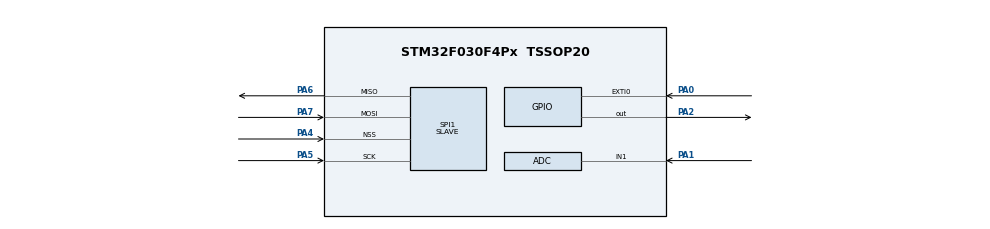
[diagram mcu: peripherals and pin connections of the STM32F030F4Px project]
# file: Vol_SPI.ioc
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ADC.DMAContinuousRequests=ENABLE
ADC.ExternalTrigConv=ADC_EXTERNALTRIGCONV_T1_TRGO
ADC.SamplingTime=ADC_SAMPLETIME_13CYCLES_5
Dma.ADC.0.Direction=DMA_PERIPH_TO_MEMORY
Dma.ADC.0.Instance=DMA1_Channel1
Dma.ADC.0.MemDataAlignment=DMA_MDATAALIGN_HALFWORD
Dma.ADC.0.MemInc=DMA_MINC_ENABLE
Dma.ADC.0.Mode=DMA_CIRCULAR
Dma.ADC.0.PeriphDataAlignment=DMA_PDATAALIGN_HALFWORD
Dma.ADC.0.PeriphInc=DMA_PINC_DISABLE
Dma.ADC.0.Priority=DMA_PRIORITY_LOW
Dma.Request0=ADC
Dma.Request1=SPI1_RX
Dma.Request2=SPI1_TX
Dma.SPI1_RX.1.Direction=DMA_PERIPH_TO_MEMORY
Dma.SPI1_RX.1.Instance=DMA1_Channel2
Dma.SPI1_RX.1.MemDataAlignment=DMA_MDATAALIGN_BYTE
Dma.SPI1_RX.1.MemInc=DMA_MINC_ENABLE
Dma.SPI1_RX.1.Mode=DMA_NORMAL
Dma.SPI1_RX.1.PeriphDataAlignment=DMA_PDATAALIGN_BYTE
Dma.SPI1_RX.1.PeriphInc=DMA_PINC_DISABLE
Dma.SPI1_RX.1.Priority=DMA_PRIORITY_LOW
Dma.SPI1_TX.2.Direction=DMA_MEMORY_TO_PERIPH
Dma.SPI1_TX.2.Instance=DMA1_Channel3
Dma.SPI1_TX.2.MemDataAlignment=DMA_MDATAALIGN_BYTE
Dma.SPI1_TX.2.MemInc=DMA_MINC_ENABLE
Dma.SPI1_TX.2.Mode=DMA_NORMAL
Dma.SPI1_TX.2.PeriphDataAlignment=DMA_PDATAALIGN_BYTE
Dma.SPI1_TX.2.PeriphInc=DMA_PINC_DISABLE
Dma.SPI1_TX.2.Priority=DMA_PRIORITY_LOW
Mcu.Family=STM32F0
Mcu.Name=STM32F030F4Px
Mcu.Package=TSSOP20
NVIC.DMA1_Channel1_IRQn=true\:0\:0\:false\:false\:true\:false\:true
NVIC.DMA1_Channel2_3_IRQn=true\:0\:0\:false\:false\:true\:false\:true
NVIC.EXTI0_1_IRQn=true\:0\:0\:false\:false\:true\:true\:true
NVIC.SPI1_IRQn=true\:0\:0\:false\:false\:true\:true\:true
NVIC.TIM3_IRQn=true\:0\:0\:false\:false\:true\:true\:true
PA0.GPIO_ModeDefaultEXTI=GPIO_MODE_IT_FALLING
PA0.Signal=GPXTI0
PA1.Mode=IN1
PA1.Signal=ADC_IN1
PA13.Mode=Serial_Wire
PA13.Signal=SYS_SWDIO
PA14.Mode=Serial_Wire
PA14.Signal=SYS_SWCLK
PA2.PinState=GPIO_PIN_SET
PA2.Signal=GPIO_Output
PA4.Mode=NSS_Signal_Hard_Input
PA4.Signal=SPI1_NSS
PA5.Mode=Full_Duplex_Slave
PA5.Signal=SPI1_SCK
PA6.Mode=Full_Duplex_Slave
PA6.Signal=SPI1_MISO
PA7.Mode=Full_Duplex_Slave
PA7.Signal=SPI1_MOSI
PF0-OSC_IN.Mode=HSE-External-Clock-Source
PF0-OSC_IN.Signal=RCC_OSC_IN
ProjectManager.HeapSize=0x200
ProjectManager.StackSize=0x400
ProjectManager.TargetToolchain=STM32CubeIDE
RCC.SYSCLKSource=RCC_SYSCLKSOURCE_HSE
SPI1.DataSize=SPI_DATASIZE_8BIT
SPI1.Direction=SPI_DIRECTION_2LINES
SPI1.Mode=SPI_MODE_SLAVE
SPI1.VirtualNSS=VM_NSSHARD
SPI1.VirtualType=VM_SLAVE
TIM1.Period=31
TIM1.Prescaler=99
TIM1.TIM_MasterOutputTrigger=TIM_TRGO_UPDATE
TIM1.TIM_MasterSlaveMode=TIM_MASTERSLAVEMODE_ENABLE
TIM3.Period=3
TIM3.Prescaler=9
VP_TIM1_VS_ClockSourceINT.Mode=Internal
VP_TIM3_VS_ClockSourceINT.Mode=Internal
board=custom

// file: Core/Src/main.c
/* USER CODE BEGIN Header */
/**
  ******************************************************************************
  * @file           : main.c
  * @brief          : Main program body
  ******************************************************************************
  * @attention
  *
  * <h2><center>&copy; Copyright (c) 2025 STMicroelectronics.
  * All rights reserved.</center></h2>
  *
  * This software component is licensed by ST under BSD 3-Clause license,
  * the "License"; You may not use this file except in compliance with the
  * License. You may obtain a copy of the License at:
  *                        opensource.org/licenses/BSD-3-Clause
  *
  ******************************************************************************
  */
/* USER CODE END Header */
#include "main.h"

/* USER CODE BEGIN Includes */
#include <stdio.h>
#include <string.h>
#include <stdbool.h>

/* USER CODE END Includes */

/* USER CODE BEGIN PTD */
#define RING_SIZE        640
#define FRAME_SAMPLES   50
#define FRAME_BYTES     (1 + FRAME_SAMPLES * 2)
uint16_t adc_dma_buf[10];
/* ring buffer ADC */
volatile uint16_t ring[RING_SIZE];
volatile uint16_t head = 0;
volatile uint16_t tail = 0;
volatile uint16_t ring_count = 0;

/* SPI buffers (8-bit) */

uint8_t rx[FRAME_BYTES];
uint8_t tx[FRAME_BYTES];

volatile uint32_t ring_overwrite = 0;

uint16_t s;			// variable for data
volatile uint8_t flag = 1;	// variable for preload tx SPI first
uint8_t itr =0;
uint8_t yes=0;
uint8_t no=0;
/* USER CODE END PTD */

ADC_HandleTypeDef hadc;
DMA_HandleTypeDef hdma_adc;

SPI_HandleTypeDef hspi1;
DMA_HandleTypeDef hdma_spi1_rx;
DMA_HandleTypeDef hdma_spi1_tx;

TIM_HandleTypeDef htim1;
TIM_HandleTypeDef htim3;

void SystemClock_Config(void);
static void MX_GPIO_Init(void);
static void MX_DMA_Init(void);
static void MX_ADC_Init(void);
static void MX_SPI1_Init(void);
static void MX_TIM1_Init(void);
static void MX_TIM3_Init(void);

/* USER CODE BEGIN 0 */

// ====== Init for Timer Trigger ADC ====== //
void HAL_GPIO_EXTI_Callback(uint16_t GPIO_Pin)
{
  /* Prevent unused argument(s) compilation warning */
  UNUSED(GPIO_Pin);
  if(GPIO_Pin == GPIO_PIN_0)
  {
  	  HAL_ADCEx_Calibration_Start(&hadc);
  	  HAL_ADC_Start_DMA(&hadc, (uint32_t*)adc_dma_buf, 1);
  	  HAL_TIM_Base_Start(&htim1);
  }
}

// ===== Ring buffer for data ===== //
static inline void ring_push(uint16_t sample)
{
    uint16_t next = head + 1;
    if (next >= RING_SIZE) next = 0;

    ring[head] = sample;
    head = next;

    if (ring_count < RING_SIZE)
    {
        ring_count++;
    }
    else
    {
        tail++;
        if (tail >= RING_SIZE)
        {
        	tail = 0;
        	ring_overwrite++;
        }
    }
}

static inline bool ring_pop(uint16_t *out)
{
    if (ring_count == 0) return false;
    *out = ring[tail];
    tail++;
    if (tail >= RING_SIZE) tail = 0;
    ring_count--;
    return true;
}

// ===== ADC callback every sample ===== //
void HAL_ADC_ConvCpltCallback(ADC_HandleTypeDef* hadc)
{
	ring_push(adc_dma_buf[0]);
	// preload first sample for SPI
	if (HAL_SPI_GetState(&hspi1) == HAL_SPI_STATE_READY) {
	    // Thực hiện nạp DMA
		ring_pop(&s);
		tx[0] = (uint8_t)(s & 0xFF);
		tx[1] = (uint8_t)(s >> 8);
		HAL_SPI_TransmitReceive_DMA(&hspi1, tx, rx, 2);

		HAL_GPIO_WritePin(GPIOA, GPIO_PIN_2, 0);
		HAL_TIM_Base_Start_IT(&htim3);
	}
//	if(flag == 1)
//	{
//		flag = 0 ;
//		ring_pop(&s);
//		tx[0] = (uint8_t)(s & 0xFF);
//		tx[1] = (uint8_t)(s >> 8);
//		HAL_SPI_TransmitReceive_DMA(&hspi1, tx, rx, 2);
//
//		HAL_GPIO_WritePin(GPIOA, GPIO_PIN_2, 0);
//		HAL_TIM_Base_Start_IT(&htim3);
//	}

	// interrupt for data ready
	itr++;

}

void HAL_TIM_PeriodElapsedCallback(TIM_HandleTypeDef *htim)
{
	HAL_GPIO_WritePin(GPIOA, GPIO_PIN_2, 1);
	HAL_TIM_Base_Stop_IT(&htim3);
}
// ===== SPI callback after transmitting ===== //
void HAL_SPI_TxRxCpltCallback(SPI_HandleTypeDef *hspi)
{

//	 if (ring_pop(&s))
//	 {
//		 tx[0] = (uint8_t)(s & 0xFF);
//		 tx[1] = (uint8_t)(s >> 8);
//		 yes++;
//	 }
//	 else
//	 {
//		 tx[0] = 0;
//		 tx[1] = 0;
//		 no++;
//	 }
//	 // preload for next transmit
//	 HAL_SPI_TransmitReceive_DMA(&hspi1, tx, rx, 2);
//
//	 HAL_GPIO_WritePin(GPIOA, GPIO_PIN_2, 0);
//	 HAL_TIM_Base_Start_IT(&htim3);

}

/* USER CODE END 0 */

int main(void)
{

  /* MCU Configuration--------------------------------------------------------*/

  /* Reset of all peripherals, Initializes the Flash interface and the Systick. */
  HAL_Init();

  /* Configure the system clock */
  SystemClock_Config();

  /* Initialize all configured peripherals */
  MX_GPIO_Init();
  MX_DMA_Init();
  MX_ADC_Init();
  MX_SPI1_Init();
  MX_TIM1_Init();
  MX_TIM3_Init();

  /* Infinite loop */
  while (1)
  {

  }
}

void SystemClock_Config(void)
{
  RCC_OscInitTypeDef RCC_OscInitStruct = {0};
  RCC_ClkInitTypeDef RCC_ClkInitStruct = {0};

  /** Initializes the RCC Oscillators according to the specified parameters
  * in the RCC_OscInitTypeDef structure.
  */
  RCC_OscInitStruct.OscillatorType = RCC_OSCILLATORTYPE_HSI14|RCC_OSCILLATORTYPE_HSE;
  RCC_OscInitStruct.HSEState = RCC_HSE_BYPASS;
  RCC_OscInitStruct.HSI14State = RCC_HSI14_ON;
  RCC_OscInitStruct.HSI14CalibrationValue = 16;
  RCC_OscInitStruct.PLL.PLLState = RCC_PLL_NONE;
  if (HAL_RCC_OscConfig(&RCC_OscInitStruct) != HAL_OK)
  {
    Error_Handler();
  }
  /** Initializes the CPU, AHB and APB buses clocks
  */
  RCC_ClkInitStruct.ClockType = RCC_CLOCKTYPE_HCLK|RCC_CLOCKTYPE_SYSCLK
                              |RCC_CLOCKTYPE_PCLK1;
  RCC_ClkInitStruct.SYSCLKSource = RCC_SYSCLKSOURCE_HSE;
  RCC_ClkInitStruct.AHBCLKDivider = RCC_SYSCLK_DIV1;
  RCC_ClkInitStruct.APB1CLKDivider = RCC_HCLK_DIV1;

  if (HAL_RCC_ClockConfig(&RCC_ClkInitStruct, FLASH_LATENCY_0) != HAL_OK)
  {
    Error_Handler();
  }
}

static void MX_ADC_Init(void)
{

  ADC_ChannelConfTypeDef sConfig = {0};

  /** Configure the global features of the ADC (Clock, Resolution, Data Alignment and number of conversion)
  */
  hadc.Instance = ADC1;
  hadc.Init.ClockPrescaler = ADC_CLOCK_ASYNC_DIV1;
  hadc.Init.Resolution = ADC_RESOLUTION_12B;
  hadc.Init.DataAlign = ADC_DATAALIGN_RIGHT;
  hadc.Init.ScanConvMode = ADC_SCAN_DIRECTION_FORWARD;
  hadc.Init.EOCSelection = ADC_EOC_SINGLE_CONV;
  hadc.Init.LowPowerAutoWait = DISABLE;
  hadc.Init.LowPowerAutoPowerOff = DISABLE;
  hadc.Init.ContinuousConvMode = DISABLE;
  hadc.Init.DiscontinuousConvMode = DISABLE;
  hadc.Init.ExternalTrigConv = ADC_EXTERNALTRIGCONV_T1_TRGO;
  hadc.Init.ExternalTrigConvEdge = ADC_EXTERNALTRIGCONVEDGE_RISING;
  hadc.Init.DMAContinuousRequests = ENABLE;
  hadc.Init.Overrun = ADC_OVR_DATA_PRESERVED;
  if (HAL_ADC_Init(&hadc) != HAL_OK)
  {
    Error_Handler();
  }
  /** Configure for the selected ADC regular channel to be converted.
  */
  sConfig.Channel = ADC_CHANNEL_1;
  sConfig.Rank = ADC_RANK_CHANNEL_NUMBER;
  sConfig.SamplingTime = ADC_SAMPLETIME_13CYCLES_5;
  if (HAL_ADC_ConfigChannel(&hadc, &sConfig) != HAL_OK)
  {
    Error_Handler();
  }

}

static void MX_SPI1_Init(void)
{

  /* SPI1 parameter configuration*/
  hspi1.Instance = SPI1;
  hspi1.Init.Mode = SPI_MODE_SLAVE;
  hspi1.Init.Direction = SPI_DIRECTION_2LINES;
  hspi1.Init.DataSize = SPI_DATASIZE_8BIT;
  hspi1.Init.CLKPolarity = SPI_POLARITY_LOW;
  hspi1.Init.CLKPhase = SPI_PHASE_1EDGE;
  hspi1.Init.NSS = SPI_NSS_HARD_INPUT;
  hspi1.Init.FirstBit = SPI_FIRSTBIT_MSB;
  hspi1.Init.TIMode = SPI_TIMODE_DISABLE;
  hspi1.Init.CRCCalculation = SPI_CRCCALCULATION_DISABLE;
  hspi1.Init.CRCPolynomial = 7;
  hspi1.Init.CRCLength = SPI_CRC_LENGTH_DATASIZE;
  hspi1.Init.NSSPMode = SPI_NSS_PULSE_DISABLE;
  if (HAL_SPI_Init(&hspi1) != HAL_OK)
  {
    Error_Handler();
  }

}

static void MX_TIM1_Init(void)
{

  TIM_ClockConfigTypeDef sClockSourceConfig = {0};
  TIM_MasterConfigTypeDef sMasterConfig = {0};

  htim1.Instance = TIM1;
  htim1.Init.Prescaler = 99;
  htim1.Init.CounterMode = TIM_COUNTERMODE_UP;
  htim1.Init.Period = 31;
  htim1.Init.ClockDivision = TIM_CLOCKDIVISION_DIV1;
  htim1.Init.RepetitionCounter = 0;
  htim1.Init.AutoReloadPreload = TIM_AUTORELOAD_PRELOAD_DISABLE;
  if (HAL_TIM_Base_Init(&htim1) != HAL_OK)
  {
    Error_Handler();
  }
  sClockSourceConfig.ClockSource = TIM_CLOCKSOURCE_INTERNAL;
  if (HAL_TIM_ConfigClockSource(&htim1, &sClockSourceConfig) != HAL_OK)
  {
    Error_Handler();
  }
  sMasterConfig.MasterOutputTrigger = TIM_TRGO_UPDATE;
  sMasterConfig.MasterSlaveMode = TIM_MASTERSLAVEMODE_ENABLE;
  if (HAL_TIMEx_MasterConfigSynchronization(&htim1, &sMasterConfig) != HAL_OK)
  {
    Error_Handler();
  }

}

static void MX_TIM3_Init(void)
{

  TIM_ClockConfigTypeDef sClockSourceConfig = {0};
  TIM_MasterConfigTypeDef sMasterConfig = {0};

  htim3.Instance = TIM3;
  htim3.Init.Prescaler = 9;
  htim3.Init.CounterMode = TIM_COUNTERMODE_UP;
  htim3.Init.Period = 3;
  htim3.Init.ClockDivision = TIM_CLOCKDIVISION_DIV1;
  htim3.Init.AutoReloadPreload = TIM_AUTORELOAD_PRELOAD_DISABLE;
  if (HAL_TIM_Base_Init(&htim3) != HAL_OK)
  {
    Error_Handler();
  }
  sClockSourceConfig.ClockSource = TIM_CLOCKSOURCE_INTERNAL;
  if (HAL_TIM_ConfigClockSource(&htim3, &sClockSourceConfig) != HAL_OK)
  {
    Error_Handler();
  }
  sMasterConfig.MasterOutputTrigger = TIM_TRGO_RESET;
  sMasterConfig.MasterSlaveMode = TIM_MASTERSLAVEMODE_DISABLE;
  if (HAL_TIMEx_MasterConfigSynchronization(&htim3, &sMasterConfig) != HAL_OK)
  {
    Error_Handler();
  }

}

static void MX_DMA_Init(void)
{

  /* DMA controller clock enable */
  __HAL_RCC_DMA1_CLK_ENABLE();

  /* DMA interrupt init */
  /* DMA1_Channel1_IRQn interrupt configuration */
  HAL_NVIC_SetPriority(DMA1_Channel1_IRQn, 0, 0);
  HAL_NVIC_EnableIRQ(DMA1_Channel1_IRQn);
  /* DMA1_Channel2_3_IRQn interrupt configuration */
  HAL_NVIC_SetPriority(DMA1_Channel2_3_IRQn, 0, 0);
  HAL_NVIC_EnableIRQ(DMA1_Channel2_3_IRQn);

}

static void MX_GPIO_Init(void)
{
  GPIO_InitTypeDef GPIO_InitStruct = {0};

  /* GPIO Ports Clock Enable */
  __HAL_RCC_GPIOF_CLK_ENABLE();
  __HAL_RCC_GPIOA_CLK_ENABLE();

  /*Configure GPIO pin Output Level */
  HAL_GPIO_WritePin(GPIOA, GPIO_PIN_2, GPIO_PIN_SET);

  /*Configure GPIO pin : PA0 */
  GPIO_InitStruct.Pin = GPIO_PIN_0;
  GPIO_InitStruct.Mode = GPIO_MODE_IT_FALLING;
  GPIO_InitStruct.Pull = GPIO_NOPULL;
  HAL_GPIO_Init(GPIOA, &GPIO_InitStruct);

  /*Configure GPIO pin : PA2 */
  GPIO_InitStruct.Pin = GPIO_PIN_2;
  GPIO_InitStruct.Mode = GPIO_MODE_OUTPUT_PP;
  GPIO_InitStruct.Pull = GPIO_NOPULL;
  GPIO_InitStruct.Speed = GPIO_SPEED_FREQ_LOW;
  HAL_GPIO_Init(GPIOA, &GPIO_InitStruct);

  /* EXTI interrupt init*/
  HAL_NVIC_SetPriority(EXTI0_1_IRQn, 0, 0);
  HAL_NVIC_EnableIRQ(EXTI0_1_IRQn);

}

void Error_Handler(void)
{
  __disable_irq();
  while (1)
  {
  }
}

/************************ (C) COPYRIGHT STMicroelectronics *****END OF FILE****/
